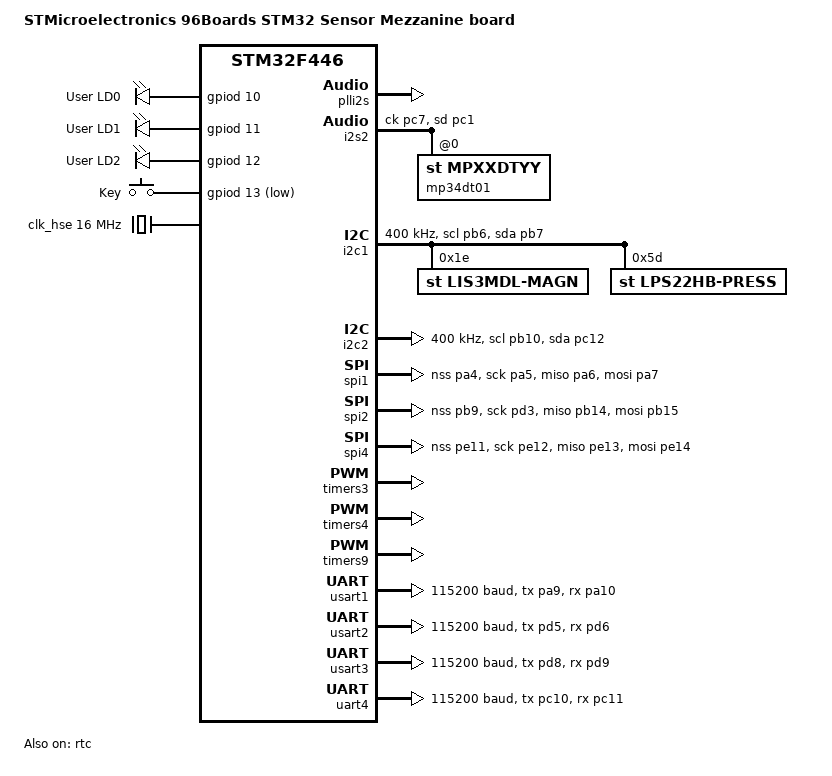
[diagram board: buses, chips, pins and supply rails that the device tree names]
/*
 * Copyright (c) 2018 Linaro Limited
 *
 * SPDX-License-Identifier: Apache-2.0
 */

/dts-v1/;
#include <st/f4/stm32f446Xe.dtsi>
#include <st/f4/stm32f446v(c-e)tx-pinctrl.dtsi>
#include <zephyr/dt-bindings/input/input-event-codes.h>

/ {
	model = "STMicroelectronics 96Boards STM32 Sensor Mezzanine board";
	compatible = "st,stm32f446-b96b-f446ve";

	chosen {
		zephyr,console = &uart4;
		zephyr,shell-uart = &uart4;
		zephyr,sram = &sram0;
		zephyr,flash = &flash0;
	};

	leds {
		compatible = "gpio-leds";
		red_led_0: led_0 {
			gpios = <&gpiod 10 GPIO_ACTIVE_HIGH>;
			label = "User LD0";
		};
		green_led_1: led_1 {
			gpios = <&gpiod 11 GPIO_ACTIVE_HIGH>;
			label = "User LD1";
		};
		blue_led_2: led_2 {
			gpios = <&gpiod 12 GPIO_ACTIVE_HIGH>;
			label = "User LD2";
		};
	};

	gpio_keys {
		compatible = "gpio-keys";
		user_button: button {
			label = "Key";
			gpios = <&gpiod 13 GPIO_ACTIVE_LOW>;
			zephyr,code = <INPUT_KEY_0>;
		};
	};

	aliases {
		led0 = &red_led_0;
		led1 = &green_led_1;
		led2 = &blue_led_2;
		sw0 = &user_button;
	};
};

&clk_lsi {
	status = "okay";
};

&clk_hse {
	clock-frequency = <DT_FREQ_M(16)>;
	status = "okay";
};

&pll {
	div-m = <8>;
	mul-n = <84>;
	div-p = <2>;
	div-q = <8>;
	clocks = <&clk_hse>;
	status = "okay";
};

&plli2s {
	div-m = <8>;
	mul-n = <192>;
	div-r = <3>;
	div-q = <4>;
	clocks = <&clk_hse>;
	status = "okay"; /* 48MHz on PLLI2SQ */
};

&rcc {
	clocks = <&pll>;
	clock-frequency = <DT_FREQ_M(84)>;
	ahb-prescaler = <1>;
	apb1-prescaler = <2>;
	apb2-prescaler = <1>;
};

&i2s2 {
	status = "okay";

	mp34dt01@0 {
		compatible = "st,mpxxdtyy";
		reg = <0>;
	};
};

&i2c1 {
	pinctrl-0 = <&i2c1_scl_pb6 &i2c1_sda_pb7>;
	pinctrl-names = "default";
	status = "okay";
	clock-frequency = <I2C_BITRATE_FAST>;

	/* ST Microelectronics LIS3MDL magnetic field sensor */
	lis3mdl-magn@1e {
		compatible = "st,lis3mdl-magn";
		reg = <0x1e>;
	};

	/* ST Microelectronics LPS22HB pressure sensor */
	lps22hb-press@5d {
		compatible = "st,lps22hb-press";
		reg = <0x5d>;
	};
};

&i2c2 {
	pinctrl-0 = <&i2c2_scl_pb10 &i2c2_sda_pc12>;
	pinctrl-names = "default";
	status = "okay";
	clock-frequency = <I2C_BITRATE_FAST>;
};

&dma1 {
	status = "okay";
};

&i2s2 {
	pinctrl-0 = <&i2s2_ck_pc7 &i2s2_sd_pc1>;
	pinctrl-names = "default";
	status = "okay";
};

&spi1_nss_pa4 { slew-rate = "very-high-speed"; };

&spi1 {
	pinctrl-0 = <&spi1_nss_pa4 &spi1_sck_pa5
		     &spi1_miso_pa6 &spi1_mosi_pa7>;
	pinctrl-names = "default";
	status = "okay";
};

&spi2_nss_pb9 { slew-rate = "very-high-speed"; };

&spi2 {
	pinctrl-0 = <&spi2_nss_pb9 &spi2_sck_pd3
		     &spi2_miso_pb14 &spi2_mosi_pb15>;
	pinctrl-names = "default";
	/* Cannot be used together with i2s2. */
	/* status = "okay"; */
};

&spi4_nss_pe11 { slew-rate = "very-high-speed"; };

&spi4 {
	pinctrl-0 = <&spi4_nss_pe11 &spi4_sck_pe12
		     &spi4_miso_pe13 &spi4_mosi_pe14>;
	pinctrl-names = "default";
	status = "okay";
};

&timers3 {
	status = "okay";

	pwm3: pwm {
		status = "okay";
		pinctrl-0 = <&tim3_ch1_pb4 &tim3_ch3_pc8>;
		pinctrl-names = "default";
	};
};

&timers4 {
	status = "okay";

	pwm4: pwm {
		status = "okay";
		pinctrl-0 = <&tim4_ch3_pd14 &tim4_ch4_pd15>;
		pinctrl-names = "default";
	};
};

&timers9 {
	status = "okay";

	pwm9: pwm {
		status = "okay";
		pinctrl-0 = <&tim9_ch1_pe5 &tim9_ch2_pe6>;
		pinctrl-names = "default";
	};
};

&usart1 {
	pinctrl-0 = <&usart1_tx_pa9 &usart1_rx_pa10>;
	pinctrl-names = "default";
	current-speed = <115200>;
	status = "okay";
};

&usart2 {
	pinctrl-0 = <&usart2_tx_pd5 &usart2_rx_pd6>;
	pinctrl-names = "default";
	current-speed = <115200>;
	status = "okay";
};

&usart3 {
	pinctrl-0 = <&usart3_tx_pd8 &usart3_rx_pd9>;
	pinctrl-names = "default";
	current-speed = <115200>;
	status = "okay";
};

&uart4 {
	pinctrl-0 = <&uart4_tx_pc10 &uart4_rx_pc11>;
	pinctrl-names = "default";
	current-speed = <115200>;
	status = "okay";
};

&rtc {
	clocks = <&rcc STM32_CLOCK(APB1, 28)>,
		 <&rcc STM32_SRC_LSI RTC_SEL(2)>;
	status = "okay";
};
